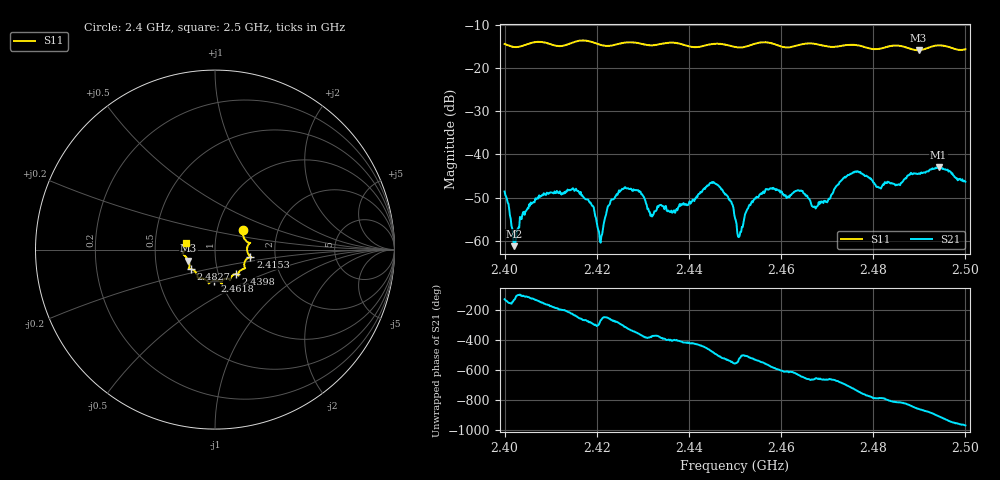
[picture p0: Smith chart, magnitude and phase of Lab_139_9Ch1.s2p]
# Hz S RI R 50
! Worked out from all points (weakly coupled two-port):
!   601 points, 2.4 GHz to 2.5 GHz, reference 50 ohm
!   highest |S21| = -42.95 dB at 2.4942 GHz (marker M1); lowest = -61.2 dB at 2.402 GHz (marker M2)
!   lowest |S11| = -15.9 dB at 2.4898 GHz (marker M3), VSWR 1.38, Z = 36.9 - j4.65 ohm
!   |S11| at or under -10 dB: start of sweep to end of sweep
!   S12 and S22 are empty: the file has one direction only
!   S11 on the Smith chart (normalised r, x): 2.4 GHz: 1.33, +0.30; 2.4153 GHz: 1.48, -0.12; 2.4398 GHz: 1.21, -0.34; 2.4618 GHz: 0.94, -0.33; 2.4827 GHz: 0.75, -0.17; 2.5 GHz: 0.72, +0.06
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2.4e9  0.1554 0.107  -0.00243 -0.00281  0 0  0 0
2.402e9  0.1578 0.0742  -0.000631 -0.000598  0 0  0 0
2.407167e9  0.1963 0.0377  -0.00245 -0.00202  0 0  0 0
2.415333e9  0.197 -0.0393  -0.00201 0.00333  0 0  0 0
2.416667e9  0.2025 -0.0433  -0.000549 0.00331  0 0  0 0
2.420833e9  0.1768 -0.052  2.4e-05 0.000954  0 0  0 0
2.422833e9  0.1637 -0.0745  -0.000456 0.00263  0 0  0 0
2.425667e9  0.1662 -0.1005  0.00223 0.00327  0 0  0 0
2.433333e9  0.1296 -0.1338  0.00236 -0.000651  0 0  0 0
2.439833e9  0.1154 -0.1358  0.00128 -0.00227  0 0  0 0
2.4455e9  0.0839 -0.1699  -0.0029 -0.00369  0 0  0 0
2.45e9  0.0655 -0.1619  -0.00175 0.000557  0 0  0 0
2.451e9  0.0543 -0.1632  -0.00108 -0.000351  0 0  0 0
2.4565e9  0.0391 -0.194  -0.00352 0.00116  0 0  0 0
2.461833e9  -0.00325 -0.173  -0.00093 0.00307  0 0  0 0
2.466667e9  -0.035 -0.1881  0.00136 0.00214  0 0  0 0
2.476167e9  -0.0956 -0.1571  0.00624 -0.00121  0 0  0 0
2.482667e9  -0.1347 -0.1086  0.00127 -0.00446  0 0  0 0
2.483333e9  -0.1399 -0.1081  0.000746 -0.0047  0 0  0 0
2.489833e9  -0.1477 -0.0614  -0.00446 -0.00404  0 0  0 0
2.494167e9  -0.1807 -0.0219  -0.00708 0.000714  0 0  0 0
2.5e9  -0.1594 0.0384  -0.00185 0.00446  0 0  0 0
